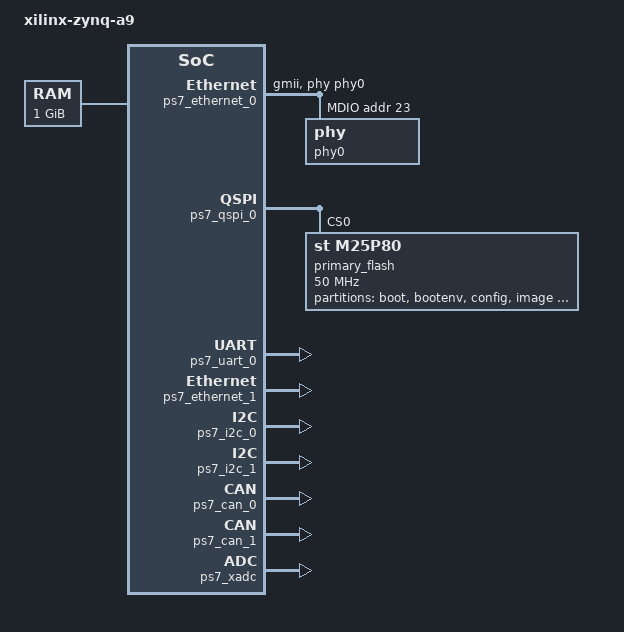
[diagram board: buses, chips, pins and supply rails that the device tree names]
/ {
	model = "xilinx-zynq-a9";
	chosen {
		bootargs = "console=ttyPS0,115200";
		linux,stdout-path = "/amba@0/serial@e0001000";
	} ;
	ps7_ddr_0: memory@0 {
		device_type = "memory";
		reg = <0x0 0x40000000>;
	} ;
	ps7_axi_interconnect_0: amba@0 {
		ps7_ethernet_0: ps7-ethernet@e000b000 {
			phy-handle = <&phy0>;
			phy-mode = "gmii";
			mdio {
				phy0: phy@23 {
					device_type = "ethernet-phy";
					reg = <23>;
				} ;
			} ;
		} ;
		ps7_qspi_0: ps7-qspi@e000d000 {
			is-dual = <1>;
			primary_flash: ps7-qspi@0 {
				#address-cells = <1>;
				#size-cells = <1>;
				compatible = "st,m25p80";
				reg = <0x0>;
				spi-max-frequency = <50000000>;
				partition@0x00000000 {
					label = "boot";
					reg = <0x00000000 0x00500000>;
				};
				partition@0x00500000 {
					label = "bootenv";
					reg = <0x00500000 0x00020000>;
				};
				partition@0x00520000 {
					label = "config";
					reg = <0x00520000 0x00020000>;
				};
				partition@0x00540000 {
					label = "image";
					reg = <0x00540000 0x00a80000>;
				};
				partition@0x00fc0000 {
					label = "spare";
					reg = <0x00fc0000 0x00000000>;
				};
			} ;
		} ;
		
		/* Disabled Devices */
		ps7_gpio_0: ps7-gpio@e000a000 { compatible = "invalid"; };
		ps7_uart_0: serial@e0000000 { compatible = "invalid"; };
		ps7_ethernet_1: ps7-ethernet@e000c000 { compatible = "invalid"; };
		ps7_i2c_0: ps7-i2c@e0004000 { compatible = "invalid"; };
		ps7_i2c_1: ps7-i2c@e0005000 { compatible = "invalid"; };
		ps7_wdt_0: ps7-wdt@f8005000 { compatible = "invalid"; };
		ps7_can_0: ps7-can@e0008000 { compatible = "invalid"; };
		ps7_can_1: ps7-can@e0009000 { compatible = "invalid"; };
		/* Not Implemented in QEMU */
		ps7_xadc: ps7-xadc@f8007100 { compatible = "invalid"; } ;
	} ;
} ;
